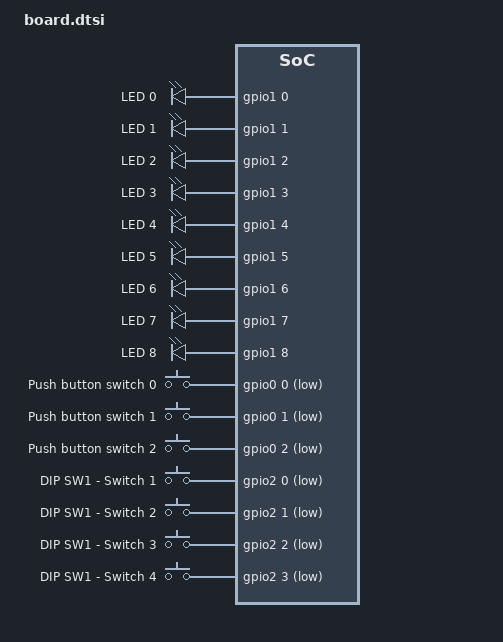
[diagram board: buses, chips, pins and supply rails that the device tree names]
/* SPDX-License-Identifier: Apache-2.0 */
/* Copyright (c) 2017 Synopsys */

#include <zephyr/dt-bindings/input/input-event-codes.h>

/ {
	aliases {
		led0 = &led0;
		led1 = &led1;
		led2 = &led2;
		led3 = &led3;
		led4 = &led4;
		led5 = &led5;
		led6 = &led6;
		led7 = &led7;
		led8 = &led8;
		sw0 = &button0;
		sw1 = &button1;
		sw2 = &button2;
	};

	leds {
		compatible = "gpio-leds";
		led0: led_0 {
			gpios = <&gpio1 0 0>;
			label = "LED 0";
		};
		led1: led_1 {
			gpios = <&gpio1 1 0>;
			label = "LED 1";
		};
		led2: led_2 {
			gpios = <&gpio1 2 0>;
			label = "LED 2";
		};
		led3: led_3 {
			gpios = <&gpio1 3 0>;
			label = "LED 3";
		};
		led4: led_4 {
			gpios = <&gpio1 4 0>;
			label = "LED 4";
		};
		led5: led_5 {
			gpios = <&gpio1 5 0>;
			label = "LED 5";
		};
		led6: led_6 {
			gpios = <&gpio1 6 0>;
			label = "LED 6";
		};
		led7: led_7 {
			gpios = <&gpio1 7 0>;
			label = "LED 7";
		};
		led8: led_8 {
			gpios = <&gpio1 8 0>;
			label = "LED 8";
		};

	};

	buttons {
		compatible = "gpio-keys";
		button0: button_0 {
			/* gpio flags need validation */
			gpios = <&gpio0 0 GPIO_ACTIVE_LOW>;
			label = "Push button switch 0";
			zephyr,code = <INPUT_KEY_0>;
		};
		button1: button_1 {
			/* gpio flags need validation */
			gpios = <&gpio0 1 GPIO_ACTIVE_LOW>;
			label = "Push button switch 1";
			zephyr,code = <INPUT_KEY_1>;
		};
		button2: button_2 {
			/* gpio flags need validation */
			gpios = <&gpio0 2 GPIO_ACTIVE_LOW>;
			label = "Push button switch 2";
			zephyr,code = <INPUT_KEY_2>;
		};
		switch0: switch_0 {
			/* gpio flags need validation */
			gpios = <&gpio2 0 GPIO_ACTIVE_LOW>;
			label = "DIP SW1 - Switch 1";
			zephyr,code = <INPUT_KEY_3>;
		};
		switch1: switch_1 {
			/* gpio flags need validation */
			gpios = <&gpio2 1 GPIO_ACTIVE_LOW>;
			label = "DIP SW1 - Switch 2";
			zephyr,code = <INPUT_KEY_4>;
		};
		switch2: switch_2 {
			/* gpio flags need validation */
			gpios = <&gpio2 2 GPIO_ACTIVE_LOW>;
			label = "DIP SW1 - Switch 3";
			zephyr,code = <INPUT_KEY_5>;
		};
		switch3: switch_3 {
			/* gpio flags need validation */
			gpios = <&gpio2 3 GPIO_ACTIVE_LOW>;
			label = "DIP SW1 - Switch 4";
			zephyr,code = <INPUT_KEY_6>;
		};
	};

};
